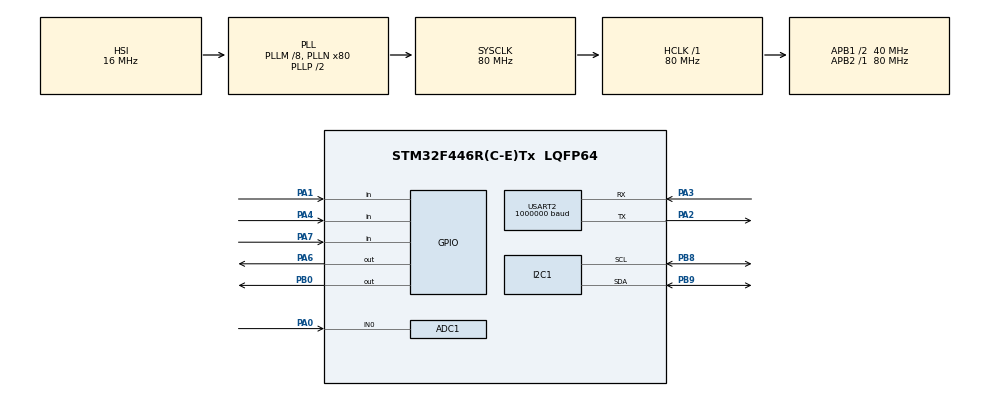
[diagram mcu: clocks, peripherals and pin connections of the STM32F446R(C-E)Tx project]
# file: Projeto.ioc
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ADC1.Channel-0\#ChannelRegularConversion=ADC_CHANNEL_0
ADC1.NbrOfConversionFlag=1
ADC1.Rank-0\#ChannelRegularConversion=1
ADC1.Resolution=ADC_RESOLUTION_12B
ADC1.SamplingTime-0\#ChannelRegularConversion=ADC_SAMPLETIME_3CYCLES
ADC1.master=1
I2C1.I2C_Mode=I2C_Fast
Mcu.Family=STM32F4
Mcu.Name=STM32F446R(C-E)Tx
Mcu.Package=LQFP64
NVIC.PriorityGroup=NVIC_PRIORITYGROUP_0
NVIC.TIM3_IRQn=true\:0\:0\:false\:false\:true\:true\:true\:true
PA0-WKUP.Signal=ADCx_IN0
PA1.GPIO_PuPd=GPIO_PULLUP
PA1.Signal=GPIO_Input
PA2.Mode=Asynchronous
PA2.Signal=USART2_TX
PA3.Mode=Asynchronous
PA3.Signal=USART2_RX
PA4.GPIO_PuPd=GPIO_PULLUP
PA4.Signal=GPIO_Input
PA6.Signal=GPIO_Output
PA7.Signal=GPIO_Input
PB0.Signal=GPIO_Output
PB8.Mode=I2C
PB8.Signal=I2C1_SCL
PB9.Mode=I2C
PB9.Signal=I2C1_SDA
ProjectManager.HeapSize=0x200
ProjectManager.StackSize=0x400
ProjectManager.TargetToolchain=STM32CubeIDE
RCC.AHBFreq_Value=80000000
RCC.APB1CLKDivider=RCC_HCLK_DIV2
RCC.APB1Freq_Value=40000000
RCC.APB1TimFreq_Value=80000000
RCC.APB2Freq_Value=80000000
RCC.APB2TimFreq_Value=80000000
RCC.CortexFreq_Value=80000000
RCC.FLatency-AdvancedSettings=FLASH_LATENCY_2
RCC.HCLKFreq_Value=80000000
RCC.HSE_VALUE=8000000
RCC.HSI_VALUE=16000000
RCC.LSE_VALUE=32768
RCC.PLLM=8
RCC.PLLN=80
RCC.SYSCLKFreq_VALUE=80000000
RCC.SYSCLKSource=RCC_SYSCLKSOURCE_PLLCLK
RCC.USBFreq_Value=80000000
RCC.VCOOutputFreq_Value=160000000
SH.ADCx_IN0.0=ADC1_IN0,IN0
TIM2.Period=65535
TIM2.Prescaler=79
TIM3.Period=10000
TIM3.Prescaler=79
USART2.BaudRate=1000000
USART2.VirtualMode=VM_ASYNC
VP_TIM2_VS_ClockSourceINT.Mode=Internal
VP_TIM3_VS_ClockSourceINT.Mode=Internal
board=NUCLEO-F446RE

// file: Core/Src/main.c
/* USER CODE BEGIN Header */
/**
 ******************************************************************************
 * @file           : main.c
 * @brief          : Main program body
 ******************************************************************************
 * @attention
 *
 * Copyright (c) 2024 STMicroelectronics.
 * All rights reserved.
 *
 * This software is licensed under terms that can be found in the LICENSE file
 * in the root directory of this software component.
 * If no LICENSE file comes with this software, it is provided AS-IS.
 *
 ******************************************************************************
 */
/* USER CODE END Header */
#include "main.h"

/* USER CODE BEGIN Includes */
#include <ssd1306.h>
#include <ssd1306_fonts.h>
#include <stdio.h>
#include <string.h>
#include "png.h"
#include "DEFINES_FUNCTIONS.h"
#include <math.h>
/* USER CODE END Includes */

ADC_HandleTypeDef hadc1;

I2C_HandleTypeDef hi2c1;

TIM_HandleTypeDef htim2;
TIM_HandleTypeDef htim3;

UART_HandleTypeDef huart2;

void SystemClock_Config(void);
static void MX_GPIO_Init(void);
static void MX_I2C1_Init(void);
static void MX_USART2_UART_Init(void);
static void MX_ADC1_Init(void);
static void MX_TIM3_Init(void);
static void MX_TIM2_Init(void);

int main(void) {

	/* MCU Configuration--------------------------------------------------------*/

	/* Reset of all peripherals, Initializes the Flash interface and the Systick. */
	HAL_Init();

	/* Configure the system clock */
	SystemClock_Config();

	/* Initialize all configured peripherals */
	MX_GPIO_Init();
	MX_I2C1_Init();
	MX_USART2_UART_Init();
	MX_ADC1_Init();
	MX_TIM3_Init();
	MX_TIM2_Init();
	/* USER CODE BEGIN 2 */

	ssd1306_Init();												// SSD1306 Function for display Initialization
	MPU6050_Init();												// Auxiliary function for MPU6050 Initialization
	HAL_TIM_Base_Start(&htim2);									// Starts the TIMER2 for the feature of ultrasonic sensor
	HAL_GPIO_WritePin(TRIG_PORT, TRIG_PIN, GPIO_PIN_RESET); 	// Pull the TRIGGER pin low
	HAL_TIM_Base_Start_IT(&htim3);								// Starts the TIMER3 for interruption of overflow
	current_screen = 0;
	HAL_Delay(100);

	/* USER CODE END 2 */

	/* Infinite loop */
	/* USER CODE BEGIN WHILE */
	while (1) {

		// Data acquisition every 10ms (100 Hz)
		if (Data_Ready) {
			MPU6050_Read_Measures();
			Data_Ready = 0;
		}

// --------------------------- Menu Logic ---------------------------

		// ------------------- Home screen Logic --------------------
		if (current_screen == 0) {

			// Checking if someone pressed the CHANGE button
			if ((HAL_GPIO_ReadPin(GPIOA, CHANGE_BUTTON) == GPIO_PIN_RESET) && button_change_clicked == 0) {

				// Variable for CHANGE button debounce
				button_change_clicked = 1;
				cursor++;

				// Making the main menu cyclic
				if (cursor == 4)
					cursor = 0;

				// Making the cursor move a feature
				item_selected += 1;

				// If the cursor reaches the last item, it should return to the first item.
				if (item_selected >= NUM_ITEMS)
					item_selected = 0;
			}
			// If the CHANGE button was release, the auxiliar variable returns to low
			if (HAL_GPIO_ReadPin(GPIOA, CHANGE_BUTTON) == GPIO_PIN_SET) {
				button_change_clicked = 0;
			}

			// External function for writing icons and feature titles on the OLED display
			menu();
		}

		// ------------------- Specific screen Logic ----------------
		if (current_screen) {

			// Fills the display with a specific color
			ssd1306_Fill(0);

			if (item_selected == 0)
				// External function for utilizing and sampling ultrasonic sensor functionality
				print_ultrassonico();

			else if (item_selected == 1)
				// External function for using and sampling gyroscope functionality
				print_gyro();

			else if (item_selected == 2)
				// External function for using and sampling the kalman filter functionality
				print_kalman();

			else if (item_selected == 3)
				// External function for using and sampling the inertial sensor calibration functionality
				calibration();

		}

		// Checking if someone pressed the ENTER button
		if (HAL_GPIO_ReadPin(GPIOA, ENTER_BUTTON) == GPIO_PIN_RESET && button_enter_clicked == 0) {

			button_enter_clicked = 1;

			// Setting the auxiliary variable of the ultrasonic sensor functionality to high
			intermediary_screen = 1;

			// Turning off the buzzer
			HAL_GPIO_WritePin(GPIOB, GPIO_PIN_0, GPIO_PIN_RESET);

			// Switching to the other screen type
			current_screen = !current_screen;
		}

		// If the ENTER button was release, the auxiliar variable returns to low
		if (HAL_GPIO_ReadPin(GPIOA, ENTER_BUTTON) == GPIO_PIN_SET && button_enter_clicked == 1) {
			button_enter_clicked = 0;
		}

		// Setting the previous item to print on the display
		item_sel_previous = item_selected - 1;

		// Previous item would be below first = make it the last
		if (item_sel_previous < 0) {
			item_sel_previous = NUM_ITEMS - 1;
		}

		// Setting the next item to print on the display
		item_sel_next = item_selected + 1;

		// Next item would be after last = make it the first
		if (item_sel_next >= NUM_ITEMS) {
			item_sel_next = 0;
		}

		// Extern function to update the changes on the display
		ssd1306_UpdateScreen();

		/* USER CODE END WHILE */

	}
}

void SystemClock_Config(void) {
	RCC_OscInitTypeDef RCC_OscInitStruct = { 0 };
	RCC_ClkInitTypeDef RCC_ClkInitStruct = { 0 };

	/** Configure the main internal regulator output voltage
	 */
	__HAL_RCC_PWR_CLK_ENABLE();
	__HAL_PWR_VOLTAGESCALING_CONFIG(PWR_REGULATOR_VOLTAGE_SCALE3);

	/** Initializes the RCC Oscillators according to the specified parameters
	 * in the RCC_OscInitTypeDef structure.
	 */
	RCC_OscInitStruct.OscillatorType = RCC_OSCILLATORTYPE_HSI;
	RCC_OscInitStruct.HSIState = RCC_HSI_ON;
	RCC_OscInitStruct.HSICalibrationValue = RCC_HSICALIBRATION_DEFAULT;
	RCC_OscInitStruct.PLL.PLLState = RCC_PLL_ON;
	RCC_OscInitStruct.PLL.PLLSource = RCC_PLLSOURCE_HSI;
	RCC_OscInitStruct.PLL.PLLM = 8;
	RCC_OscInitStruct.PLL.PLLN = 80;
	RCC_OscInitStruct.PLL.PLLP = RCC_PLLP_DIV2;
	RCC_OscInitStruct.PLL.PLLQ = 2;
	RCC_OscInitStruct.PLL.PLLR = 2;
	if (HAL_RCC_OscConfig(&RCC_OscInitStruct) != HAL_OK) {
		Error_Handler();
	}

	/** Initializes the CPU, AHB and APB buses clocks
	 */
	RCC_ClkInitStruct.ClockType = RCC_CLOCKTYPE_HCLK | RCC_CLOCKTYPE_SYSCLK
			| RCC_CLOCKTYPE_PCLK1 | RCC_CLOCKTYPE_PCLK2;
	RCC_ClkInitStruct.SYSCLKSource = RCC_SYSCLKSOURCE_PLLCLK;
	RCC_ClkInitStruct.AHBCLKDivider = RCC_SYSCLK_DIV1;
	RCC_ClkInitStruct.APB1CLKDivider = RCC_HCLK_DIV2;
	RCC_ClkInitStruct.APB2CLKDivider = RCC_HCLK_DIV1;

	if (HAL_RCC_ClockConfig(&RCC_ClkInitStruct, FLASH_LATENCY_2) != HAL_OK) {
		Error_Handler();
	}
}

static void MX_ADC1_Init(void) {

	ADC_ChannelConfTypeDef sConfig = { 0 };

	/** Configure the global features of the ADC (Clock, Resolution, Data Alignment and number of conversion)
	 */
	hadc1.Instance = ADC1;
	hadc1.Init.ClockPrescaler = ADC_CLOCK_SYNC_PCLK_DIV4;
	hadc1.Init.Resolution = ADC_RESOLUTION_12B;
	hadc1.Init.ScanConvMode = DISABLE;
	hadc1.Init.ContinuousConvMode = DISABLE;
	hadc1.Init.DiscontinuousConvMode = DISABLE;
	hadc1.Init.ExternalTrigConvEdge = ADC_EXTERNALTRIGCONVEDGE_NONE;
	hadc1.Init.ExternalTrigConv = ADC_SOFTWARE_START;
	hadc1.Init.DataAlign = ADC_DATAALIGN_RIGHT;
	hadc1.Init.NbrOfConversion = 1;
	hadc1.Init.DMAContinuousRequests = DISABLE;
	hadc1.Init.EOCSelection = ADC_EOC_SINGLE_CONV;
	if (HAL_ADC_Init(&hadc1) != HAL_OK) {
		Error_Handler();
	}

	/** Configure for the selected ADC regular channel its corresponding rank in the sequencer and its sample time.
	 */
	sConfig.Channel = ADC_CHANNEL_0;
	sConfig.Rank = 1;
	sConfig.SamplingTime = ADC_SAMPLETIME_3CYCLES;
	if (HAL_ADC_ConfigChannel(&hadc1, &sConfig) != HAL_OK) {
		Error_Handler();
	}

}

static void MX_I2C1_Init(void) {

	hi2c1.Instance = I2C1;
	hi2c1.Init.ClockSpeed = 100000;
	hi2c1.Init.DutyCycle = I2C_DUTYCYCLE_2;
	hi2c1.Init.OwnAddress1 = 0;
	hi2c1.Init.AddressingMode = I2C_ADDRESSINGMODE_7BIT;
	hi2c1.Init.DualAddressMode = I2C_DUALADDRESS_DISABLE;
	hi2c1.Init.OwnAddress2 = 0;
	hi2c1.Init.GeneralCallMode = I2C_GENERALCALL_DISABLE;
	hi2c1.Init.NoStretchMode = I2C_NOSTRETCH_DISABLE;
	if (HAL_I2C_Init(&hi2c1) != HAL_OK) {
		Error_Handler();
	}

}

static void MX_TIM2_Init(void) {

	TIM_ClockConfigTypeDef sClockSourceConfig = { 0 };
	TIM_MasterConfigTypeDef sMasterConfig = { 0 };

	htim2.Instance = TIM2;
	htim2.Init.Prescaler = 79;
	htim2.Init.CounterMode = TIM_COUNTERMODE_UP;
	htim2.Init.Period = 65535;
	htim2.Init.ClockDivision = TIM_CLOCKDIVISION_DIV1;
	htim2.Init.AutoReloadPreload = TIM_AUTORELOAD_PRELOAD_DISABLE;
	if (HAL_TIM_Base_Init(&htim2) != HAL_OK) {
		Error_Handler();
	}
	sClockSourceConfig.ClockSource = TIM_CLOCKSOURCE_INTERNAL;
	if (HAL_TIM_ConfigClockSource(&htim2, &sClockSourceConfig) != HAL_OK) {
		Error_Handler();
	}
	sMasterConfig.MasterOutputTrigger = TIM_TRGO_RESET;
	sMasterConfig.MasterSlaveMode = TIM_MASTERSLAVEMODE_DISABLE;
	if (HAL_TIMEx_MasterConfigSynchronization(&htim2, &sMasterConfig)
			!= HAL_OK) {
		Error_Handler();
	}

}

static void MX_TIM3_Init(void) {

	TIM_ClockConfigTypeDef sClockSourceConfig = { 0 };
	TIM_MasterConfigTypeDef sMasterConfig = { 0 };

	htim3.Instance = TIM3;
	htim3.Init.Prescaler = 79;
	htim3.Init.CounterMode = TIM_COUNTERMODE_UP;
	htim3.Init.Period = 10000;
	htim3.Init.ClockDivision = TIM_CLOCKDIVISION_DIV1;
	htim3.Init.AutoReloadPreload = TIM_AUTORELOAD_PRELOAD_DISABLE;
	if (HAL_TIM_Base_Init(&htim3) != HAL_OK) {
		Error_Handler();
	}
	sClockSourceConfig.ClockSource = TIM_CLOCKSOURCE_INTERNAL;
	if (HAL_TIM_ConfigClockSource(&htim3, &sClockSourceConfig) != HAL_OK) {
		Error_Handler();
	}
	sMasterConfig.MasterOutputTrigger = TIM_TRGO_RESET;
	sMasterConfig.MasterSlaveMode = TIM_MASTERSLAVEMODE_DISABLE;
	if (HAL_TIMEx_MasterConfigSynchronization(&htim3, &sMasterConfig)
			!= HAL_OK) {
		Error_Handler();
	}

}

static void MX_USART2_UART_Init(void) {

	huart2.Instance = USART2;
	huart2.Init.BaudRate = 1000000;
	huart2.Init.WordLength = UART_WORDLENGTH_8B;
	huart2.Init.StopBits = UART_STOPBITS_1;
	huart2.Init.Parity = UART_PARITY_NONE;
	huart2.Init.Mode = UART_MODE_TX_RX;
	huart2.Init.HwFlowCtl = UART_HWCONTROL_NONE;
	huart2.Init.OverSampling = UART_OVERSAMPLING_16;
	if (HAL_UART_Init(&huart2) != HAL_OK) {
		Error_Handler();
	}

}

static void MX_GPIO_Init(void) {
	GPIO_InitTypeDef GPIO_InitStruct = { 0 };

	/* GPIO Ports Clock Enable */
	__HAL_RCC_GPIOA_CLK_ENABLE();
	__HAL_RCC_GPIOB_CLK_ENABLE();

	/*Configure GPIO pin Output Level */
	HAL_GPIO_WritePin(GPIOA, GPIO_PIN_6, GPIO_PIN_RESET);

	/*Configure GPIO pin Output Level */
	HAL_GPIO_WritePin(GPIOB, GPIO_PIN_0, GPIO_PIN_RESET);

	/*Configure GPIO pins : PA1 PA4 */
	GPIO_InitStruct.Pin = GPIO_PIN_1 | GPIO_PIN_4;
	GPIO_InitStruct.Mode = GPIO_MODE_INPUT;
	GPIO_InitStruct.Pull = GPIO_PULLUP;
	HAL_GPIO_Init(GPIOA, &GPIO_InitStruct);

	/*Configure GPIO pin : PA6 */
	GPIO_InitStruct.Pin = GPIO_PIN_6;
	GPIO_InitStruct.Mode = GPIO_MODE_OUTPUT_PP;
	GPIO_InitStruct.Pull = GPIO_NOPULL;
	GPIO_InitStruct.Speed = GPIO_SPEED_FREQ_LOW;
	HAL_GPIO_Init(GPIOA, &GPIO_InitStruct);

	/*Configure GPIO pin : PA7 */
	GPIO_InitStruct.Pin = GPIO_PIN_7;
	GPIO_InitStruct.Mode = GPIO_MODE_INPUT;
	GPIO_InitStruct.Pull = GPIO_NOPULL;
	HAL_GPIO_Init(GPIOA, &GPIO_InitStruct);

	/*Configure GPIO pin : PB0 */
	GPIO_InitStruct.Pin = GPIO_PIN_0;
	GPIO_InitStruct.Mode = GPIO_MODE_OUTPUT_PP;
	GPIO_InitStruct.Pull = GPIO_NOPULL;
	GPIO_InitStruct.Speed = GPIO_SPEED_FREQ_LOW;
	HAL_GPIO_Init(GPIOB, &GPIO_InitStruct);

}

/* USER CODE BEGIN 4 */

// Callback for TIM3, used to indicate the right time to capture data from the inertial unit
void HAL_TIM_PeriodElapsedCallback(TIM_HandleTypeDef *htim) {
	Data_Ready = 1;
}

/* USER CODE END 4 */

void Error_Handler(void) {
	__disable_irq();
	while (1) {
	}
}
